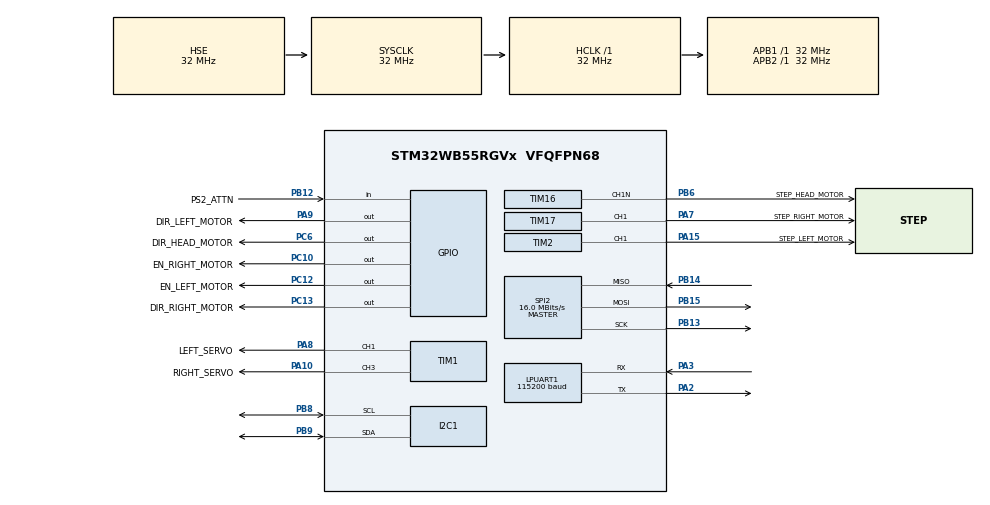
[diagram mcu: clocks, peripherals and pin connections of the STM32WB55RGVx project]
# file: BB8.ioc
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Dma.LPUART1_TX.0.Direction=DMA_MEMORY_TO_PERIPH
Dma.LPUART1_TX.0.EventEnable=DISABLE
Dma.LPUART1_TX.0.Instance=DMA1_Channel4
Dma.LPUART1_TX.0.MemDataAlignment=DMA_MDATAALIGN_BYTE
Dma.LPUART1_TX.0.MemInc=DMA_MINC_ENABLE
Dma.LPUART1_TX.0.Mode=DMA_NORMAL
Dma.LPUART1_TX.0.PeriphDataAlignment=DMA_PDATAALIGN_BYTE
Dma.LPUART1_TX.0.PeriphInc=DMA_PINC_DISABLE
Dma.LPUART1_TX.0.Polarity=HAL_DMAMUX_REQ_GEN_RISING
Dma.LPUART1_TX.0.Priority=DMA_PRIORITY_LOW
Dma.LPUART1_TX.0.RequestNumber=1
Dma.LPUART1_TX.0.SignalID=HAL_DMAMUX1_REQ_GEN_DMAMUX1_CH1_EVT
Dma.LPUART1_TX.0.SyncEnable=DISABLE
Dma.LPUART1_TX.0.SyncPolarity=HAL_DMAMUX_SYNC_NO_EVENT
Dma.LPUART1_TX.0.SyncRequestNumber=1
Dma.LPUART1_TX.0.SyncSignalID=HAL_DMAMUX1_SYNC_DMAMUX1_CH1_EVT
Dma.Request0=LPUART1_TX
I2C1.Timing=0x00B07CB4
LPTIM1.ClockPrescaler=LPTIM_PRESCALER_DIV2
LPUART1.BaudRate=115200
LPUART1.ClockPrescaler=UART_PRESCALER_DIV1
LPUART1.DMADisableonRxErrorParam=UART_ADVFEATURE_DMA_ENABLEONRXERROR
LPUART1.DataInvertParam=UART_ADVFEATURE_DATAINV_DISABLE
LPUART1.FIFOMode=UART_FIFOMODE_DISABLE
LPUART1.MSBFirstParam=UART_ADVFEATURE_MSBFIRST_DISABLE
LPUART1.Mode=UART_MODE_TX_RX
LPUART1.OneBitSampling=UART_ONE_BIT_SAMPLE_DISABLE
LPUART1.OverrunDisableParam=UART_ADVFEATURE_OVERRUN_ENABLE
LPUART1.Parity=UART_PARITY_NONE
LPUART1.RXFIFOThreshold=UART_RXFIFO_THRESHOLD_1_8
LPUART1.RxPinLevelInvertParam=UART_ADVFEATURE_RXINV_DISABLE
LPUART1.StopBits=UART_STOPBITS_1
LPUART1.SwapParam=UART_ADVFEATURE_SWAP_DISABLE
LPUART1.TXFIFOThreshold=UART_TXFIFO_THRESHOLD_1_8
LPUART1.TxPinLevelInvertParam=UART_ADVFEATURE_TXINV_DISABLE
LPUART1.WordLength=UART_WORDLENGTH_8B
Mcu.Family=STM32WB
Mcu.Name=STM32WB55RGVx
Mcu.Package=VFQFPN68
NVIC.DMA1_Channel4_IRQn=true\:15\:0\:true\:false\:true\:false\:true\:true
NVIC.HSEM_IRQn=true\:0\:0\:false\:false\:true\:false\:true\:true
NVIC.IPCC_C1_RX_IRQn=true\:0\:0\:false\:false\:true\:true\:true\:true
NVIC.IPCC_C1_TX_IRQn=true\:0\:0\:false\:false\:true\:true\:true\:true
NVIC.LPTIM1_IRQn=true\:0\:0\:false\:false\:true\:true\:true\:true
NVIC.LPUART1_IRQn=true\:0\:0\:false\:false\:true\:true\:true\:true
NVIC.PriorityGroup=NVIC_PRIORITYGROUP_4
NVIC.RTC_WKUP_IRQn=true\:0\:0\:false\:false\:true\:true\:true\:true
OSC_IN.Mode=HSE-External-Oscillator
OSC_IN.Signal=RCC_OSC_IN
OSC_OUT.Mode=HSE-External-Oscillator
OSC_OUT.Signal=RCC_OSC_OUT
PA10.GPIO_Label=RIGHT_SERVO
PA10.Signal=S_TIM1_CH3
PA13.Mode=Serial_Wire
PA13.Signal=SYS_JTMS-SWDIO
PA14.Mode=Serial_Wire
PA14.Signal=SYS_JTCK-SWCLK
PA15.GPIO_Label=STEP_LEFT_MOTOR
PA15.Signal=S_TIM2_CH1
PA2.GPIO_Mode=GPIO_MODE_AF_PP
PA2.GPIO_PuPd=GPIO_NOPULL
PA2.GPIO_Speed=GPIO_SPEED_FREQ_VERY_HIGH
PA2.Mode=Asynchronous
PA2.Signal=LPUART1_TX
PA3.GPIO_Mode=GPIO_MODE_AF_PP
PA3.GPIO_PuPd=GPIO_NOPULL
PA3.GPIO_Speed=GPIO_SPEED_FREQ_VERY_HIGH
PA3.Mode=Asynchronous
PA3.Signal=LPUART1_RX
PA7.GPIO_Label=STEP_RIGHT_MOTOR
PA7.Signal=S_TIM17_CH1
PA8.GPIO_Label=LEFT_SERVO
PA8.Signal=S_TIM1_CH1
PA9.GPIO_Label=DIR_LEFT_MOTOR
PA9.Signal=GPIO_Output
PB12.GPIO_Label=PS2_ATTN
PB12.Signal=GPIO_Input
PB13.Mode=Full_Duplex_Master
PB13.Signal=SPI2_SCK
PB14.Mode=Full_Duplex_Master
PB14.Signal=SPI2_MISO
PB15.Mode=Full_Duplex_Master
PB15.Signal=SPI2_MOSI
PB6.GPIO_Label=STEP_HEAD_MOTOR
PB6.Mode=PWM Generation1 CH1N
PB6.Signal=TIM16_CH1N
PB8.Mode=I2C
PB8.Signal=I2C1_SCL
PB9.Mode=I2C
PB9.Signal=I2C1_SDA
PC10.GPIO_Label=EN_RIGHT_MOTOR
PC10.Signal=GPIO_Output
PC12.GPIO_Label=EN_LEFT_MOTOR
PC12.Signal=GPIO_Output
PC13.GPIO_Label=DIR_RIGHT_MOTOR
PC13.Signal=GPIO_Output
PC14-OSC32_IN.Mode=LSE-External-Oscillator
PC14-OSC32_IN.Signal=RCC_OSC32_IN
PC15-OSC32_OUT.Mode=LSE-External-Oscillator
PC15-OSC32_OUT.Signal=RCC_OSC32_OUT
PC6.GPIO_Label=DIR_HEAD_MOTOR
PC6.Signal=GPIO_Output
ProjectManager.HeapSize=0x400
ProjectManager.StackSize=0x1000
ProjectManager.TargetToolchain=CMake
RCC.ADCFreq_Value=64000000
RCC.AHBFreq_Value=32000000
RCC.APB1Freq_Value=32000000
RCC.APB1TimFreq_Value=32000000
RCC.APB2Freq_Value=32000000
RCC.APB2TimFreq_Value=32000000
RCC.APB3Freq_Value=16000000
RCC.CK48CLockSelection=RCC_USBCLKSOURCE_HSI48
RCC.CortexFreq_Value=32000000
RCC.HCLKFreq_Value=32000000
RCC.HSE_VALUE=32000000
RCC.HSI48_VALUE=48000000
RCC.HSI_VALUE=16000000
RCC.LSE_Drive_Capability=RCC_LSEDRIVE_LOW
RCC.PLLSourceVirtual=RCC_PLLSOURCE_HSI
RCC.RFWKPClockSelection=RCC_RFWKPCLKSOURCE_LSE
RCC.RNGCLockSelection=RCC_RNGCLKSOURCE_CLK48
RCC.RTCClockSelection=RCC_RTCCLKSOURCE_LSE
RCC.SMPSCLockSelection=RCC_SMPSCLKSOURCE_HSE
RCC.SMPSCLockSelectionVirtual=RCC_SMPSCLKSOURCE_HSE
RCC.SMPSDivider=4
RCC.SYSCLKFreq_VALUE=32000000
RCC.SYSCLKSource=RCC_SYSCLKSOURCE_HSE
RCC.USBFreq_Value=48000000
RCC.VCOOutputFreq_Value=128000000
RF1.Mode=RF1_Activate
RF1.Signal=RF_RF1
SH.S_TIM17_CH1.0=TIM17_CH1,PWM Generation1 CH1
SH.S_TIM1_CH1.0=TIM1_CH1,PWM Generation1 CH1
SH.S_TIM1_CH3.0=TIM1_CH3,PWM Generation3 CH3
SH.S_TIM2_CH1.0=TIM2_CH1,PWM Generation1 CH1
SPI2.CalculateBaudRate=16.0 MBits/s
SPI2.Direction=SPI_DIRECTION_2LINES
SPI2.Mode=SPI_MODE_MASTER
SPI2.VirtualType=VM_MASTER
STM32_WPAN.AD_TYPE_COMPLETE_LOCAL_NAME=BB8main
STM32_WPAN.AD_TYPE_COMPLETE_LOCAL_NAME_LENGTH=8
STM32_WPAN.BLE_ADDR_TYPE=PUBLIC_ADDR
STM32_WPAN.BLE_APPLICATION_TYPE=BLE_SERVER_PROFILE
STM32_WPAN.BLE_CFG_CLT_MAX_NBR_CB=6
STM32_WPAN.CFG_ADV_BD_ADDRESS=0xAA22334455AA
STM32_WPAN.CFG_BLE_MAX_CONN_EVENT_LENGTH=0xFFFFFFFF
STM32_WPAN.CFG_BLE_MAX_TX_POWER=6
STM32_WPAN.CFG_BLE_MIN_TX_POWER=-40
STM32_WPAN.CFG_BLE_NUM_LINK=8
STM32_WPAN.CFG_DEBUGGER_SUPPORTED=1
STM32_WPAN.CFG_DEBUG_APP_TRACE=1
STM32_WPAN.CFG_DEBUG_BLE_TRACE=1
STM32_WPAN.CFG_DEBUG_TRACE_LIGHT=1
STM32_WPAN.CFG_DEBUG_TRACE_UART=hw_lpuart1
STM32_WPAN.CFG_FAST_CONN_ADV_INTERVAL_MAX_HEXA=0x0
STM32_WPAN.CFG_FAST_CONN_ADV_INTERVAL_MIN_HEXA=0x0
STM32_WPAN.CFG_GAP_DEVICE_NAME=BB8main
STM32_WPAN.CFG_HW_LPUART1_DMA_TX_SUPPORTED=1
STM32_WPAN.CFG_HW_LPUART1_ENABLED=1
STM32_WPAN.CFG_HW_RESET_BY_FW=1
STM32_WPAN.CFG_HW_TS_MAX_NBR_CONCURRENT_TIMER=6
STM32_WPAN.CFG_HW_TS_NVIC_RTC_WAKEUP_IT_PREEMPTPRIO=3
STM32_WPAN.CFG_HW_TS_NVIC_RTC_WAKEUP_IT_SUBPRIO=0
STM32_WPAN.CFG_HW_TS_USE_PRIMASK_AS_CRITICAL_SECTION=1
STM32_WPAN.CFG_HW_USART1_ENABLED=1
STM32_WPAN.CFG_IO_CAPABILITY=CFG_IO_CAPABILITY_DISPLAY_YES_NO
STM32_WPAN.CFG_LPM_SUPPORTED=0
STM32_WPAN.CFG_LP_CONN_ADV_INTERVAL_MAX=1500
STM32_WPAN.CFG_LP_CONN_ADV_INTERVAL_MAX_HEXA=0x0960
STM32_WPAN.CFG_LP_CONN_ADV_INTERVAL_MIN=1000
STM32_WPAN.CFG_LP_CONN_ADV_INTERVAL_MIN_HEXA=0x0640
STM32_WPAN.CFG_MITM_PROTECTION=CFG_MITM_PROTECTION_REQUIRED
STM32_WPAN.CFG_RTCCLK_DIVIDER_CONF=0
STM32_WPAN.CFG_USE_SMPS=0
STM32_WPAN.CUSTOM_P2P_ROUTER=Disabled
STM32_WPAN.CUSTOM_P2P_SERVER=Disabled
STM32_WPAN.CUSTOM_TEMPLATE=Enabled
STM32_WPAN.DBG_TRACE_UART_CFG=hw_uart1
STM32_WPAN.INCLUDE_AD_TYPE_COMPLETE_LOCAL_NAME=1
STM32_WPAN.L2CAP_REQUEST_NEW_CONN_PARAM=1
STM32_WPAN.LOCAL_NAME=BB8main
STM32_WPAN.LOCAL_NAME_FORMATTED=,'B','B','8','m','a','i','n'
STM32_WPAN.NUMBER_OF_SERVICES=2
STM32_WPAN.P2P_SERVER_NUMBER=P2P_SERVER1
STM32_WPAN.SERVICE1_CHAR1_GATT_NOTIFY_ATTRIBUTE_WRITE=GATT_NOTIFY_ATTRIBUTE_WRITE
STM32_WPAN.SERVICE1_CHAR1_GATT_NOTIFY_READ_REQ_AND_WAIT_FOR_APPL_RESP=\ 
STM32_WPAN.SERVICE1_CHAR1_GATT_NOTIFY_WRITE_REQ_AND_WAIT_FOR_APPL_RESP=\ 
STM32_WPAN.SERVICE1_CHAR1_LENGTH_CHARACTERISTIC=CHAR_VALUE_LEN_VARIABLE
STM32_WPAN.SERVICE1_CHAR1_LONG_NAME=D11A
STM32_WPAN.SERVICE1_CHAR1_PROP_NOTIFY=CHAR_PROP_NOTIFY
STM32_WPAN.SERVICE1_CHAR1_SHORT_NAME=D11A
STM32_WPAN.SERVICE1_CHAR1_UUID=D1 1A
STM32_WPAN.SERVICE1_CHAR1_UUID_TYPE=0x01
STM32_WPAN.SERVICE1_CHAR1_VALUE_LENGTH=225
STM32_WPAN.SERVICE1_CHAR2_LONG_NAME=C44D
STM32_WPAN.SERVICE1_CHAR2_PROP_WRITE=CHAR_PROP_WRITE
STM32_WPAN.SERVICE1_CHAR2_SHORT_NAME=C44D
STM32_WPAN.SERVICE1_CHAR2_UUID=C4 4D
STM32_WPAN.SERVICE1_CHAR2_UUID_TYPE=0x01
STM32_WPAN.SERVICE1_CHAR2_VALUE_LENGTH=245
STM32_WPAN.SERVICE1_LONG_NAME=Remote_control
STM32_WPAN.SERVICE1_NUMBER_OF_CHARACTERISTICS=2
STM32_WPAN.SERVICE1_SHORT_NAME=Remote_control
STM32_WPAN.SERVICE1_UUID=90 02
STM32_WPAN.SERVICE1_UUID_TYPE=0x01
STM32_WPAN.SERVICE2_CHAR1_GATT_NOTIFY_READ_REQ_AND_WAIT_FOR_APPL_RESP=\ 
STM32_WPAN.SERVICE2_CHAR1_GATT_NOTIFY_WRITE_REQ_AND_WAIT_FOR_APPL_RESP=\ 
STM32_WPAN.SERVICE2_CHAR1_LENGTH_CHARACTERISTIC=CHAR_VALUE_LEN_VARIABLE
STM32_WPAN.SERVICE2_CHAR1_LONG_NAME=D11C
STM32_WPAN.SERVICE2_CHAR1_PROP_NOTIFY=CHAR_PROP_NOTIFY
STM32_WPAN.SERVICE2_CHAR1_SHORT_NAME=D11C
STM32_WPAN.SERVICE2_CHAR1_UUID=D1 1C
STM32_WPAN.SERVICE2_CHAR1_UUID_TYPE=0x01
STM32_WPAN.SERVICE2_CHAR1_VALUE_LENGTH=245
STM32_WPAN.SERVICE2_CHAR2_LONG_NAME=C44F
STM32_WPAN.SERVICE2_CHAR2_PROP_WRITE=CHAR_PROP_WRITE
STM32_WPAN.SERVICE2_CHAR2_SHORT_NAME=C44F
STM32_WPAN.SERVICE2_CHAR2_UUID=C4 4F
STM32_WPAN.SERVICE2_CHAR2_UUID_TYPE=0x01
STM32_WPAN.SERVICE2_CHAR2_VALUE_LENGTH=245
STM32_WPAN.SERVICE2_LONG_NAME=Head_commands
STM32_WPAN.SERVICE2_NUMBER_OF_CHARACTERISTICS=2
STM32_WPAN.SERVICE2_SHORT_NAME=Head_commands
STM32_WPAN.SERVICE2_TYPE=PRIMARY_SERVICE
STM32_WPAN.SERVICE2_UUID=90 04
STM32_WPAN.SERVICE2_UUID_TYPE=0x01
STM32_WPAN.STATIC_RANDOM_ADDRESS=0x112233445566
TIM1.Channel-PWM\ Generation1\ CH1=TIM_CHANNEL_1
TIM1.Channel-PWM\ Generation3\ CH3=TIM_CHANNEL_3
TIM16.Channel=TIM_CHANNEL_1
TIM17.Channel=TIM_CHANNEL_1
TIM2.Channel-PWM\ Generation1\ CH1=TIM_CHANNEL_1
VP_CRC_VS_CRC.Mode=CRC_Activate
VP_HSEM_VS_HSEM.Mode=HSEM_Activate
VP_IPCC_VS_IPCC.Mode=IPCC_Activate
VP_LPTIM1_VS_LPTIM_counterModeInternalClock.Mode=Counts__internal_clock_event_00
VP_MEMORYMAP_VS_MEMORYMAP.Mode=CurAppReg
VP_RNG_VS_RNG.Mode=RNG_Activate
VP_RTC_VS_RTC_Activate.Mode=RTC_Enabled
VP_RTC_VS_RTC_WakeUp_intern.Mode=WakeUp
VP_SEQUENCER_VS_SEQUENCER.Mode=SEQUENCER_Enabled
VP_STM32_WPAN_VS_BLE_HOST.Mode=STM32_WPAN_Enabled
VP_TIM16_VS_ClockSourceINT.Mode=Enable_Timer
VP_TIM17_VS_ClockSourceINT.Mode=Enable_Timer
VP_TIM1_VS_ClockSourceINT.Mode=Internal
VP_TIM2_VS_ClockSourceINT.Mode=Internal
VP_TINY_LPM_VS_TINY_LPM.Mode=TINY_LPM_Enabled
board=P-NUCLEO-WB55-NUCLEO

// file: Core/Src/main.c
/* USER CODE BEGIN Header */
/**
  ******************************************************************************
  * @file           : main.c
  * @brief          : Main program body
  ******************************************************************************
  * @attention
  *
  * Copyright (c) 2026 STMicroelectronics.
  * All rights reserved.
  *
  * This software is licensed under terms that can be found in the LICENSE file
  * in the root directory of this software component.
  * If no LICENSE file comes with this software, it is provided AS-IS.
  *
  ******************************************************************************
  */
/* USER CODE END Header */
#include "main.h"
#include "crc.h"
#include "dma.h"
#include "i2c.h"
#include "ipcc.h"
#include "lptim.h"
#include "usart.h"
#include "rf.h"
#include "rng.h"
#include "rtc.h"
#include "spi.h"
#include "tim.h"
#include "gpio.h"

/* USER CODE BEGIN Includes */
#include "PS2_driver.h"
#include "motionControl.h"
#include "IMU_driver.h"
/* USER CODE END Includes */

/* USER CODE BEGIN PD */
#define minChangeJoy  10u
#define DEADZONE  5
/* USER CODE END PD */

/* USER CODE BEGIN PV */

/*  Storing the live joystick values. */
joyStick_values_t joyStickValues = {0.5, 0.5};

/*  Storing the PWM timers and channels for each drive motor.*/
MotorPWMChannels_t motorPWMChannels;
/* USER CODE END PV */

void SystemClock_Config(void);
void PeriphCommonClock_Config(void);

/* USER CODE BEGIN 0 */
/* ==================== IMU Variables ==================== */
stmdev_ctx_t IMU_data = {&IMU_write,
  &IMU_read,
  &platform_delay,
  &hspi1
};

struct quaternion deviceQuat;
eulerAngles_t localAngles;

/* USER CODE END 0 */

int main(void)
{

  /* MCU Configuration--------------------------------------------------------*/

  /* Reset of all peripherals, Initializes the Flash interface and the Systick. */
  HAL_Init();
  /* Config code for STM32_WPAN (HSE Tuning must be done before system clock configuration) */
  MX_APPE_Config();

  /* Configure the system clock */
  SystemClock_Config();

  /* Configure the peripherals common clocks */
  PeriphCommonClock_Config();

  /* IPCC initialisation */
  MX_IPCC_Init();

  /* Initialize all configured peripherals */
  MX_GPIO_Init();
  MX_DMA_Init();
  MX_LPUART1_UART_Init();
  MX_RTC_Init();
  MX_RNG_Init();
  MX_CRC_Init();
  MX_LPTIM1_Init();
  MX_TIM1_Init();
  MX_TIM2_Init();
  MX_TIM17_Init();
  MX_TIM16_Init();
  MX_I2C1_Init();
  MX_SPI2_Init();
  MX_RF_Init();
  /* USER CODE BEGIN 2 */

  /*  Debug timing to ensure all systems have been initialised correctly before
      beginning to run. */
  HAL_Delay(1000);

  /** @brief              A function which takes the users controller instance
   *                      and sets the appropriate pins defintions and feedback
   *                      zsettings.
   *  @param  controller  A pointer to the controller instance which the user
   *                      is looking to initialise.
   */
  void controllerInit(PS2ControllerStates_t *controller);

  /*  Defining what timer and channel each motor is connected to.*/
  motorPWMChannels.motor1PWM = &htim1;
  motorPWMChannels.motor1Channel = TIM_CHANNEL_1;
  motorPWMChannels.motor2PWM =  &htim16;
  motorPWMChannels.motor2Channel = TIM_CHANNEL_1;

  /*  Creating the local variables for checking the analogue stick values. */
  uint8_t last_joystickLeftX = 0;
  uint8_t last_joystickLeftY = 0;
  uint8_t last_joystickRight = 0;

  uint8_t new_joystickLeftX = 0;
  uint8_t new_joystickLeftY = 0;
  uint8_t new_joystickRight = 0;

  /*  Creating the controller instance and initialising it. */
  PS2ControllerStates_t controller;
  controllerInit(&controller);
  config_gamepad(&controller, controller.feedback.en_Pressures, controller.feedback.en_Rumble);

  /* Initialising the IMU. */
  IMUInit(IMU_data);

  /* USER CODE END 2 */

  /* Init code for STM32_WPAN */
  MX_APPE_Init();

  /* Infinite loop */
  while (1)
  {
    MX_APPE_Process();

    /* USER CODE BEGIN 3 */

    /* Checking Orientation estimates. */
    IMUUpdate(&IMU_data, &localAngles, &deviceQuat);

    /*  Reading the most recent data from the analogue stick. */
    new_joystickLeftX = Analogue(&controller, PS_LX);
    new_joystickLeftY = Analogue(&controller, PS_LY);

    /*  Checking if the joystick position is in the deadzone. */
    if ((new_joystickLeftX > (0x80 - DEADZONE) && new_joystickLeftX < (0x80 + DEADZONE)) ||
        (new_joystickLeftY > (0x80 - DEADZONE) && new_joystickLeftY < (0x80 + DEADZONE))){
      /*  Stop the droid from moving. */
      DroidTranslation(0.5, 0.5, 0);
    }

    /*  Checking if there has been a large enough change from the last joystick position. */
    else if (minChangeJoy <= fabsf(new_joystickLeftX - last_joystickLeftX) || minChangeJoy <= fabsf(new_joystickLeftY - last_joystickLeftY)){
      /*  Updating the recent joystick value. */
      last_joystickLeftX = new_joystickLeftX;
      last_joystickLeftY = new_joystickLeftY;

      /*  Normalising the joystick controllers to be within a value between 0 and 1 and not 0 to 255. */
      joyStickValues.left_right = ((float)new_joystickLeftX / (float)0xff);
      joyStickValues.forward_backward = ((float)new_joystickLeftY / (float)0xff);

      /*  Updating the droid's motor values. */
      DroidTranslation(joyStickValues.left_right, joyStickValues.forward_backward, 0);
    }

    /*  Adding a short delay to reduce the sampling rate.
        This must be replaced to be thread based/ timer
        based in the future for optimal performance. */
    HAL_Delay(5); // ~200Hz sampling rate.

  }
  /* USER CODE END 3 */
}

void SystemClock_Config(void)
{
  RCC_OscInitTypeDef RCC_OscInitStruct = {0};
  RCC_ClkInitTypeDef RCC_ClkInitStruct = {0};

  /** Configure LSE Drive Capability
  */
  HAL_PWR_EnableBkUpAccess();
  __HAL_RCC_LSEDRIVE_CONFIG(RCC_LSEDRIVE_LOW);

  /** Configure the main internal regulator output voltage
  */
  __HAL_PWR_VOLTAGESCALING_CONFIG(PWR_REGULATOR_VOLTAGE_SCALE1);

  /** Initializes the RCC Oscillators according to the specified parameters
  * in the RCC_OscInitTypeDef structure.
  */
  RCC_OscInitStruct.OscillatorType = RCC_OSCILLATORTYPE_HSI48|RCC_OSCILLATORTYPE_HSI
                              |RCC_OSCILLATORTYPE_HSE|RCC_OSCILLATORTYPE_LSE;
  RCC_OscInitStruct.HSEState = RCC_HSE_ON;
  RCC_OscInitStruct.LSEState = RCC_LSE_ON;
  RCC_OscInitStruct.HSIState = RCC_HSI_ON;
  RCC_OscInitStruct.HSI48State = RCC_HSI48_ON;
  RCC_OscInitStruct.HSICalibrationValue = RCC_HSICALIBRATION_DEFAULT;
  RCC_OscInitStruct.PLL.PLLState = RCC_PLL_NONE;
  if (HAL_RCC_OscConfig(&RCC_OscInitStruct) != HAL_OK)
  {
    Error_Handler();
  }

  /** Configure the SYSCLKSource, HCLK, PCLK1 and PCLK2 clocks dividers
  */
  RCC_ClkInitStruct.ClockType = RCC_CLOCKTYPE_HCLK4|RCC_CLOCKTYPE_HCLK2
                              |RCC_CLOCKTYPE_HCLK|RCC_CLOCKTYPE_SYSCLK
                              |RCC_CLOCKTYPE_PCLK1|RCC_CLOCKTYPE_PCLK2;
  RCC_ClkInitStruct.SYSCLKSource = RCC_SYSCLKSOURCE_HSE;
  RCC_ClkInitStruct.AHBCLKDivider = RCC_SYSCLK_DIV1;
  RCC_ClkInitStruct.APB1CLKDivider = RCC_HCLK_DIV1;
  RCC_ClkInitStruct.APB2CLKDivider = RCC_HCLK_DIV1;
  RCC_ClkInitStruct.AHBCLK2Divider = RCC_SYSCLK_DIV1;
  RCC_ClkInitStruct.AHBCLK4Divider = RCC_SYSCLK_DIV1;

  if (HAL_RCC_ClockConfig(&RCC_ClkInitStruct, FLASH_LATENCY_1) != HAL_OK)
  {
    Error_Handler();
  }
}

void PeriphCommonClock_Config(void)
{
  RCC_PeriphCLKInitTypeDef PeriphClkInitStruct = {0};

  /** Initializes the peripherals clock
  */
  PeriphClkInitStruct.PeriphClockSelection = RCC_PERIPHCLK_SMPS|RCC_PERIPHCLK_RFWAKEUP;
  PeriphClkInitStruct.RFWakeUpClockSelection = RCC_RFWKPCLKSOURCE_LSE;
  PeriphClkInitStruct.SmpsClockSelection = RCC_SMPSCLKSOURCE_HSE;
  PeriphClkInitStruct.SmpsDivSelection = RCC_SMPSCLKDIV_RANGE1;

  if (HAL_RCCEx_PeriphCLKConfig(&PeriphClkInitStruct) != HAL_OK)
  {
    Error_Handler();
  }
}

/* USER CODE BEGIN 4 */
void controllerInit(PS2ControllerStates_t *controller){
  #ifndef PS2_SPI
    /*  Setting the pin defintions for the controller. */
  controller->pins.att_GPIO_Pin = PS2_ATTN_Pin;
  controller->pins.att_GPIO_Port = PS2_ATTN_GPIO_Port;
  controller->pins.clk_GPIO_Pin = PS2_CLK_Pin;
  controller->pins.clk_GPIO_Port = PS2_CLK_GPIO_Port;
  controller->pins.cmd_GPIO_Pin = PS2_CMD_Pin;
  controller->pins.cmd_GPIO_Port = PS2_CMD_GPIO_Port;
  controller->pins.dat_GPIO_Pin = PS2_DATA_Pin;
  controller->pins.dat_GPIO_Port = PS2_DATA_GPIO_Port;

  /*  Disabling the feedback. */
  controller->feedback.en_Pressures = false;
  controller->feedback.en_Rumble = false;
  #else
  controller->handle = &hspi2;
  controller->ChipSelect_GPIO_Port = PS2_ATTN_GPIO_Port;
  controller->ChipSelect_GPIO_Pin = PS2_ATTN_Pin;
  #endif
  return;
}
/* USER CODE END 4 */

void Error_Handler(void)
{
  __disable_irq();
  while (1)
  {
  }
}
